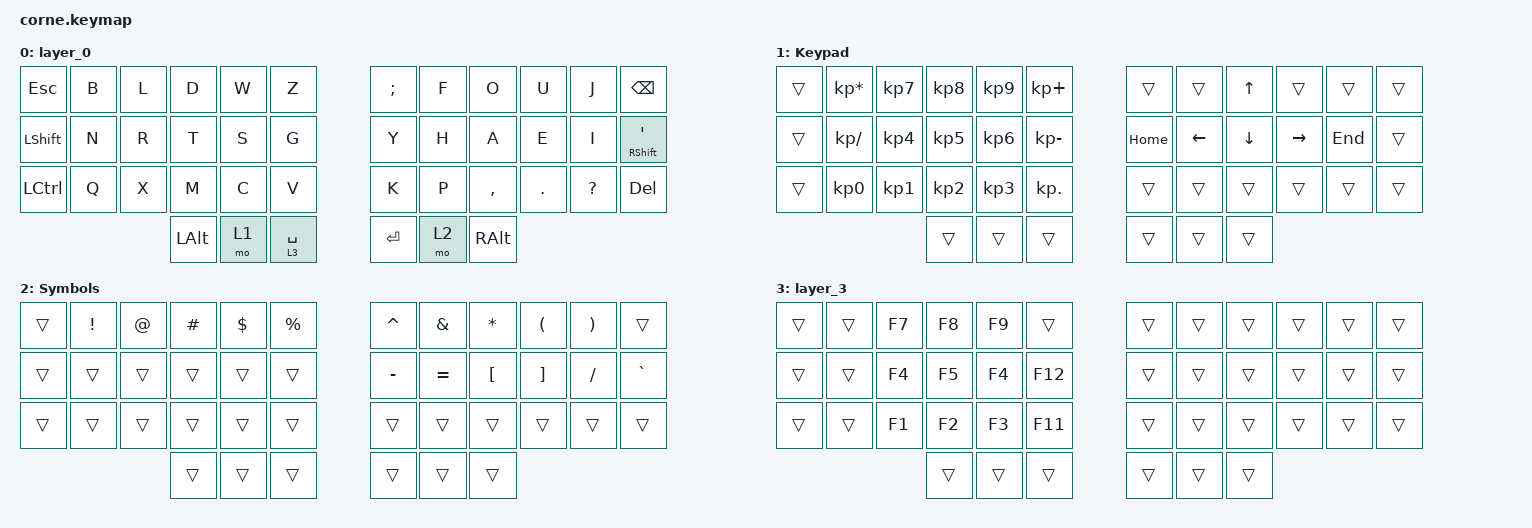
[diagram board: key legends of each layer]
/*
 * Copyright (c) 2020 The ZMK Contributors
 *
 * SPDX-License-Identifier: MIT
 */

#include <behaviors.dtsi>
#include <dt-bindings/zmk/keys.h>

/ {
    combos {
        compatible = "zmk,combos";

        Tab {
            bindings = <&kp TAB>;
            key-positions = <2 3>;
        };

        Super {
            bindings = <&kp LEFT_META>;
            key-positions = <26 27>;
        };

        Enter {
            bindings = <&kp ENTER>;
            key-positions = <27 28>;
        };

        Backspace {
            bindings = <&kp BACKSPACE>;
            key-positions = <25 26>;
        };
    };

    keymap {
        compatible = "zmk,keymap";

        layer_0 {
            bindings = <
&kp ESC           &kp B  &kp L  &kp D         &kp W  &kp Z          &kp SEMICOLON  &kp F  &kp O          &kp U       &kp J         &kp BACKSPACE
&kp LEFT_SHIFT    &kp N  &kp R  &kp T         &kp S  &kp G          &kp Y          &kp H  &kp A          &kp E       &kp I         &mt RIGHT_SHIFT SINGLE_QUOTE
&kp LEFT_CONTROL  &kp Q  &kp X  &kp M         &kp C  &kp V          &kp K          &kp P  &kp COMMA      &kp PERIOD  &kp QUESTION  &kp DELETE
                                &kp LEFT_ALT  &mo 1  &lt 3 SPACE    &kp ENTER      &mo 2  &kp RIGHT_ALT
            >;
        };

        KEYPAD {
            bindings = <
&trans  &kp KP_MULTIPLY  &kp KP_N7        &kp KP_N8  &kp KP_N9  &kp KP_PLUS        &trans    &trans          &kp UP_ARROW    &trans           &trans   &trans
&trans  &kp KP_DIVIDE    &kp KP_NUMBER_4  &kp KP_N5  &kp KP_N6  &kp KP_SUBTRACT    &kp HOME  &kp LEFT_ARROW  &kp DOWN_ARROW  &kp RIGHT_ARROW  &kp END  &trans
&trans  &kp KP_N0        &kp KP_N1        &kp KP_N2  &kp KP_N3  &kp KP_DOT         &trans    &trans          &trans          &trans           &trans   &trans
                                          &trans     &trans     &trans             &trans    &trans          &trans
            >;

            label = "Keypad";
        };

        SYMBOLS {
            bindings = <
&trans  &kp EXCL  &kp AT  &kp POUND  &kp DOLLAR  &kp PERCENT    &kp CARET  &kp AMPERSAND  &kp ASTERISK      &kp LEFT_PARENTHESIS  &kp RIGHT_PARENTHESIS  &trans
&trans  &trans    &trans  &trans     &trans      &trans         &kp MINUS  &kp EQUAL      &kp LEFT_BRACKET  &kp RIGHT_BRACKET     &kp SLASH              &kp GRAVE
&trans  &trans    &trans  &trans     &trans      &trans         &trans     &trans         &trans            &trans                &trans                 &trans
                          &trans     &trans      &trans         &trans     &trans         &trans
            >;

            label = "Symbols";
        };

        layer_3 {
            bindings = <
&trans  &trans  &kp F7  &kp F8  &kp F9  &trans     &trans  &trans  &trans  &trans  &trans  &trans
&trans  &trans  &kp F4  &kp F5  &kp F4  &kp F12    &trans  &trans  &trans  &trans  &trans  &trans
&trans  &trans  &kp F1  &kp F2  &kp F3  &kp F11    &trans  &trans  &trans  &trans  &trans  &trans
                        &trans  &trans  &trans     &trans  &trans  &trans
            >;
        };
    };
};
